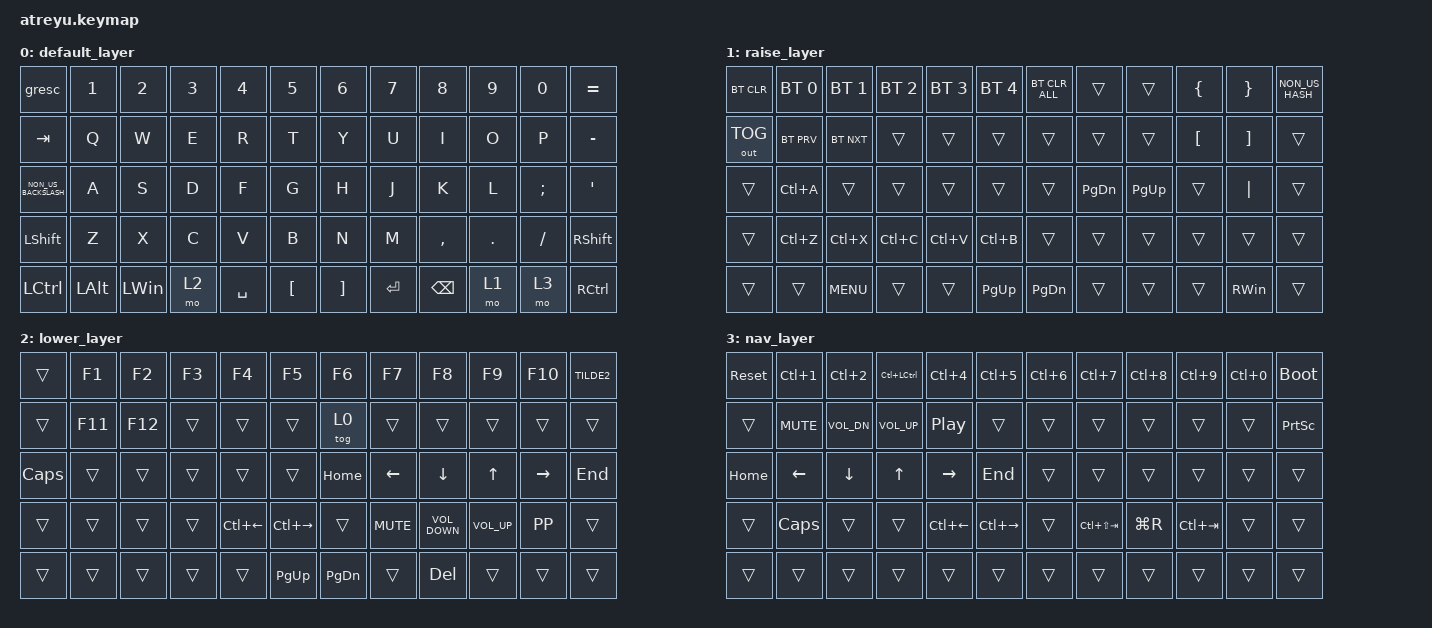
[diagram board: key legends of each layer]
/*
 * Copyright (c) 2020 The ZMK Contributors
 *
 * SPDX-License-Identifier: MIT
 */

#include <behaviors.dtsi>
#include <dt-bindings/zmk/bt.h>
#include <dt-bindings/zmk/keys.h>
#include <dt-bindings/zmk/outputs.h>

/ {
    combos {
        compatible = "zmk,combos";

        combo_c_a_r {
            timeout-ms = <50>;
            key-positions = <31 32>;
            bindings = <&kp LC(LALT)>;
        };

        combo_c_a_l {
            timeout-ms = <50>;
            key-positions = <27 28>;
            bindings = <&kp LC(LALT)>;
        };
    };

    behaviors {
        ctrl_tab: ctrl_tab {
            compatible = "zmk,behavior-mod-morph";
            label = "GUI_CTRL_TAB";
            #binding-cells = <0>;
            bindings = <&kp LC(TAB)>, <&kp LC(LS(TAB))>;

            mods = <(MOD_LGUI)>;
        };

        shiftable_tab: shiftable_tab {
            compatible = "zmk,behavior-mod-morph";
            label = "CTRL_TAB";
            #binding-cells = <0>;
            bindings = <&kp TAB >, <&ctrl_tab>;

            mods = <(MOD_LCTL)>;
        };

        gresc: grave_escape {
            compatible = "zmk,behavior-mod-morph";
            label = "GRAVE_ESCAPE";
            #binding-cells = <0>;
            bindings = <&kp ESC>, <&kp GRAVE>;

            mods = <(MOD_LGUI)>;
            keep-mods = <(MOD_LGUI)>;
        };
    };

    //        sensors: sensors {
    //            compatible = "zmk,keymap-sensors";
    //            sensors = <&left_encoder>;
    //            triggers-per-rotation = <36>;
    //        };

    keymap {
        compatible = "zmk,keymap";

        default_layer {
            bindings = <
&gresc                &kp N1        &kp N2        &kp N3  &kp N4     &kp N5            &kp N6             &kp N7      &kp N8         &kp N9   &kp N0    &kp EQUAL
&kp TAB               &kp Q         &kp W         &kp E   &kp R      &kp T             &kp Y              &kp U       &kp I          &kp O    &kp P     &kp MINUS
&kp NON_US_BACKSLASH  &kp A         &kp S         &kp D   &kp F      &kp G             &kp H              &kp J       &kp K          &kp L    &kp SEMI  &kp SQT
&kp LSHFT             &kp Z         &kp X         &kp C   &kp V      &kp B             &kp N              &kp M       &kp COMMA      &kp DOT  &kp FSLH  &kp RIGHT_SHIFT
&kp LCTRL             &kp LEFT_ALT  &kp LEFT_WIN  &mo 2   &kp SPACE  &kp LEFT_BRACKET  &kp RIGHT_BRACKET  &kp RETURN  &kp BACKSPACE  &mo 1    &mo 3     &kp RCTRL
            >;

            //sensor-bindings = <&inc_dec_kp C_VOL_UP C_VOL_DN &inc_dec_kp PG_UP PG_DN>;
        };

        raise_layer {
            bindings = <
&bt BT_CLR    &bt BT_SEL 0  &bt BT_SEL 1  &bt BT_SEL 2  &bt BT_SEL 3  &bt BT_SEL 4  &bt BT_CLR_ALL  &trans     &trans     &kp LBRC  &kp RBRC       &kp NON_US_HASH
&out OUT_TOG  &bt BT_PRV    &bt BT_NXT    &trans        &trans        &trans        &trans          &trans     &trans     &kp LBKT  &kp RBKT       &trans
&trans        &kp LC(A)     &trans        &trans        &trans        &trans        &trans          &kp PG_DN  &kp PG_UP  &trans    &kp PIPE       &trans
&trans        &kp LC(Z)     &kp LC(X)     &kp LC(C)     &kp LC(V)     &kp LC(B)     &trans          &trans     &trans     &trans    &trans         &trans
&trans        &trans        &kp K_MENU    &trans        &trans        &kp PG_UP     &kp PAGE_DOWN   &trans     &trans     &trans    &kp RIGHT_WIN  &trans
            >;

            //sensor-bindings = <&inc_dec_kp C_VOL_UP C_VOL_DN &inc_dec_kp PG_UP PG_DN>;
        };

        lower_layer {
            bindings = <
&trans        &kp F1   &kp F2   &kp F3  &kp F4        &kp F5         &kp F6     &kp F7      &kp F8             &kp F9        &kp F10    &kp TILDE2
&trans        &kp F11  &kp F12  &trans  &trans        &trans         &tog 0     &trans      &trans             &trans        &trans     &trans
&kp CAPSLOCK  &trans   &trans   &trans  &trans        &trans         &kp HOME   &kp LEFT    &kp DOWN           &kp UP_ARROW  &kp RIGHT  &kp END
&trans        &trans   &trans   &trans  &kp LC(LEFT)  &kp LC(RIGHT)  &trans     &kp K_MUTE  &kp K_VOLUME_DOWN  &kp K_VOL_UP  &kp K_PP   &trans
&trans        &trans   &trans   &trans  &trans        &kp PG_UP      &kp PG_DN  &trans      &kp DEL            &trans        &trans     &trans
            >;

            //sensor-bindings = <&inc_dec_kp C_VOL_UP C_VOL_DN &inc_dec_kp PG_UP PG_DN>;
        };

        nav_layer {
            bindings = <
&sys_reset  &kp LC(N1)      &kp LC(N2)    &kp LC(LEFT_CONTROL)  &kp LC(N4)        &kp LC(N5)     &kp LC(N6)  &kp LC(N7)       &kp LC(N8)  &kp LC(N9)   &kp LC(N0)  &bootloader
&trans      &kp C_MUTE      &kp C_VOL_DN  &kp C_VOL_UP          &kp C_PLAY_PAUSE  &trans         &trans      &trans           &trans      &trans       &trans      &kp PRINTSCREEN
&kp HOME    &kp LEFT_ARROW  &kp DOWN      &kp UP_ARROW          &kp RIGHT         &kp END        &trans      &trans           &trans      &trans       &trans      &trans
&trans      &kp CAPS        &trans        &trans                &kp LC(LEFT)      &kp LC(RIGHT)  &trans      &kp LC(LS(TAB))  &kp LG(R)   &kp LC(TAB)  &trans      &trans
&trans      &trans          &trans        &trans                &trans            &trans         &trans      &trans           &trans      &trans       &trans      &trans
            >;

            //sensor-bindings = <&inc_dec_kp C_VOL_UP C_VOL_DN &inc_dec_kp PG_UP PG_DN>;
        };

        //  [_COLEMAK] = LAYOUT( \
//       KC_ESC,   KC_1,    KC_2,    KC_3,    KC_4,    KC_5,                       KC_6,    KC_7,    KC_8,    KC_9,    KC_0,    KC_GRV,
        //       KC_TAB,   KC_Q,    KC_W,    KC_F,    KC_P,    KC_G,                       KC_J,    KC_L,    KC_U,    KC_Y,    KC_SCLN, KC_BSPC,
        //       KC_LCTL,  KC_A,    KC_R,    KC_S,    KC_T,    KC_D,                       KC_H,    KC_N,    KC_E,    KC_I,    KC_O,    LT(_SYM,KC_QUOT),
        //       KC_LSFT,  KC_Z,    KC_X,    KC_C,    KC_V,    KC_B,                       KC_K,    KC_M,    KC_COMM, KC_DOT,  KC_SLSH, KC_RSFT,
        //       NAV,      LWR,     KC_LALT, KC_LGUI, KC_ENT,  KC_LBRC,                    KC_RBRC, KC_SPC,  RSE,     NAV,  KC_NUM,  KC_RCTL
        //  ),
    };
};
